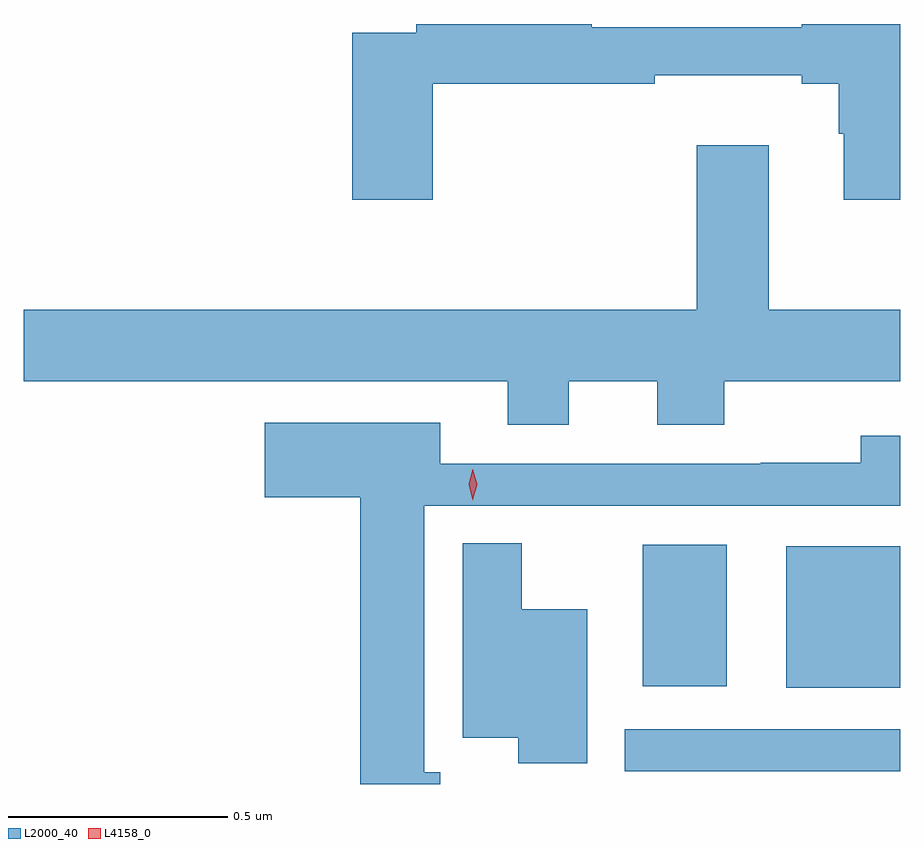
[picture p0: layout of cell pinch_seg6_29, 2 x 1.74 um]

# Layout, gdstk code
import gdstk
lib = gdstk.Library(unit=1e-6, precision=1e-09)
def R(c, l, rs):  # rectangles x0, y0, x1, y1
    for r in rs: c.add(gdstk.rectangle(r[:2], r[2:], *l))
def P(c, l, *ps):  # polygons
    for p in ps: c.add(gdstk.Polygon(p, *l))
L2000_40 = (2000, 40)
L4158_0 = (4158, 0)

pinch_seg6_29 = lib.new_cell('pinch_seg6_29')
R(pinch_seg6_29, L2000_40, [(980.028,958.434,980.656,958.53), (980.396,958.625,980.656,958.948), (980.069,958.628,980.26,958.951)])
P(pinch_seg6_29, L2000_40, [(979.589,960.004),(980.096,960.004),(980.096,960.023),(980.432,960.023),(980.432,960.004),(980.516,960.004),(980.516,959.889),(980.528,959.889),(980.528,959.739),(980.656,959.739),(980.656,960.14),(980.432,960.14),(980.432,960.133),(979.952,960.133),(979.952,960.14),(979.552,960.14),(979.552,960.12),(979.406,960.12),(979.406,959.739),(979.589,959.739)],
  [(979.9,959.324),(980.102,959.324),(980.102,959.225),(980.255,959.225),(980.255,959.324),(980.656,959.324),(980.656,959.488),(980.356,959.488),(980.356,959.863),(980.192,959.863),(980.192,959.488),(978.656,959.488),(978.656,959.324),(979.76,959.324),(979.76,959.225),(979.9,959.225)],
  [(979.606,958.432),(979.57,958.432),(979.57,959.04),(980.656,959.04),(980.656,959.2),(980.566,959.2),(980.566,959.138),(980.338,959.138),(980.338,959.136),(979.606,959.136),(979.606,959.23),(979.206,959.23),(979.206,959.06),(979.424,959.06),(979.424,958.405),(979.606,958.405)],
  [(979.942,958.804),(979.792,958.804),(979.792,958.955),(979.658,958.955),(979.658,958.511),(979.784,958.511),(979.784,958.452),(979.942,958.452)])
P(pinch_seg6_29, L4158_0, [(979.68,959.053),(979.68,959.054),(979.671,959.089),(979.681,959.124),(979.681,959.124),(979.681,959.124),(979.691,959.089),(979.681,959.054)])

lib.write_gds('pinch_seg6_29.gds')
